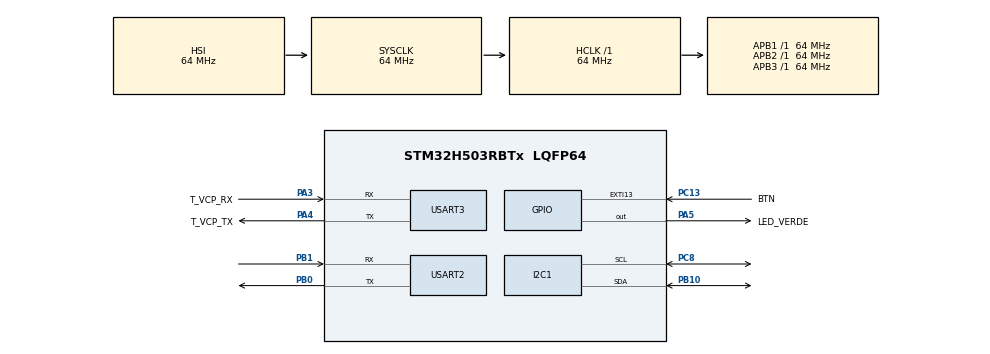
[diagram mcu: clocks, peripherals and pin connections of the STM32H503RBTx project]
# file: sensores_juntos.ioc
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BOOTPATH.BootPathName=LEGACY
BOOTPATH.UserSelectedBootPath=LEGACY
I2C1.Timing=0x10707DBC
Mcu.Family=STM32H5
Mcu.Name=STM32H503RBTx
Mcu.Package=LQFP64
NVIC.PriorityGroup=NVIC_PRIORITYGROUP_4
PA3.GPIO_Label=T_VCP_RX
PA3.Mode=Asynchronous
PA3.Signal=USART3_RX
PA4.GPIO_Label=T_VCP_TX
PA4.Mode=Asynchronous
PA4.Signal=USART3_TX
PA5.GPIO_Label=LED_VERDE
PA5.Signal=GPIO_Output
PB0.Mode=Asynchronous
PB0.Signal=USART2_TX
PB1.Mode=Asynchronous
PB1.Signal=USART2_RX
PB10.Mode=I2C
PB10.Signal=I2C1_SDA
PC13.GPIO_Label=BTN
PC13.Signal=GPXTI13
PC8.Mode=I2C
PC8.Signal=I2C1_SCL
ProjectManager.HeapSize=0x200
ProjectManager.StackSize=0x400
ProjectManager.TargetToolchain=STM32CubeIDE
RCC.ADCFreq_Value=64000000
RCC.AHBFreq_Value=64000000
RCC.APB1Freq_Value=64000000
RCC.APB1TimFreq_Value=64000000
RCC.APB2Freq_Value=64000000
RCC.APB2TimFreq_Value=64000000
RCC.APB3Freq_Value=64000000
RCC.CSI_VALUE=4000000
RCC.CortexFreq_Value=64000000
RCC.EPOD_VALUE=4000000
RCC.HCLKFreq_Value=64000000
RCC.HSE_VALUE=24000000
RCC.HSI48_VALUE=48000000
RCC.HSIDiv=RCC_HSI_DIV1
RCC.HSI_VALUE=64000000
RCC.LSE_VALUE=32768
RCC.LSIRC_VALUE=32000
RCC.PLLN=32
RCC.SYSCLKFreq_VALUE=64000000
RCC.USBFreq_Value=48000000
RCC.VCOOutputFreq_Value=128000000
USART2.VirtualMode-Asynchronous=VM_ASYNC
USART3.VirtualMode-Asynchronous=VM_ASYNC
VP_BOOTPATH_VS_BOOTPATH.Mode=BP_Activate
VP_CORTEX_M33_NS_VS_Hclk.Mode=Hclk_Mode
VP_MEMORYMAP_VS_MEMORYMAP.Mode=CurAppReg
VP_PWR_VS_DBSignals.Mode=DisableDeadBatterySignals
VP_PWR_VS_LPOM.Mode=PowerOptimisation
VP_PWR_VS_SECSignals.Mode=Security/Privilege
board=NUCLEO-H503RB

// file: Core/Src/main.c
/* USER CODE BEGIN Header */
/**
  ******************************************************************************
  * @file           : main.c
  * @brief          : Main program body
  ******************************************************************************
  * @attention
  *
  * Copyright (c) 2025 STMicroelectronics.
  * All rights reserved.
  *
  * This software is licensed under terms that can be found in the LICENSE file
  * in the root directory of this software component.
  * If no LICENSE file comes with this software, it is provided AS-IS.
  *
  ******************************************************************************
  */
/* USER CODE END Header */
#include "main.h"

/* USER CODE BEGIN Includes */
#include "stdbool.h"
#include "stdio.h"
/* USER CODE END Includes */

/* USER CODE BEGIN PTD */
#define BUFFER_MAX_USART 100

//---------------------ACELEROMETRO-----------------------------------------
#define ADXL345_ADDR       0x53<<1  //Dirección I2C
#define REG_DEVID          0x00
#define REG_POWER_CTL      0x2D
#define REG_DATA_FORMAT    0x31
#define REG_BW_RATE        0x2C
#define REG_DATAX0         0x32
#define REG_DATAX1         0x33
#define REG_DATAY0         0x34
#define REG_DATAY1         0x35
#define REG_DATAZ0         0x36
#define REG_DATAZ1         0x37

#define REG_THRESH_ACT     0x24
#define REG_INT_ENABLE     0x2E
#define REG_INT_SOURCE     0x30

typedef struct{
	uint8_t bytes [BUFFER_MAX_USART];
	uint16_t longitud;
}Transfer_Config;

typedef struct{
	volatile float x_axis;
	volatile float y_axis;
	volatile float z_axis;
	volatile float acelX_filtrada;
	volatile float acelY_filtrada;
	volatile float acelZ_filtrada;
	volatile float deltaX;
	volatile float deltaY;
	volatile float deltaZ;
	volatile float prevX;
	volatile float prevY;

	bool startMeasure;
} Device_Config;

typedef struct{
	uint8_t ID;
	bool deviceReady;
	uint8_t rawData[8];
	int16_t rawX;
	int16_t rawY;
	int16_t rawZ;
} ADXL_Config;

typedef struct{
	uint8_t data_format;
	uint8_t power_ctl;
	uint8_t bw_rate;
} Values_ADXL;

Device_Config datos={};
ADXL_Config acelerometro={};
Values_ADXL values={};
Transfer_Config tx={};

void ADXL_Init(void);
void Value_Conversion(void);
void Send_USART(void);
float filtroSuavizado(float nuevo, float anterior);

//----------------------------CALIDAD DE AIRE--------------------------------
#define AHT21_ADDR    (0x38 << 1)

#define ENS160_ADDR_52   (0x52 << 1)
#define ENS160_ADDR_53   (0x53 << 1)

/* ENS160 registros útiles */
#define ENS160_PART_ID       0x00
#define ENS160_OPMODE        0x10
#define ENS160_CONFIG        0x11
#define ENS160_COMMAND       0x12
#define ENS160_TEMP_IN       0x13
#define ENS160_RH_IN         0x15
#define ENS160_DEVICE_STATUS 0x20
#define ENS160_DATA_AQI      0x21
#define ENS160_DATA_TVOC     0x22
#define ENS160_DATA_ECO2     0x24

typedef struct{
	bool ens160_found;
	uint8_t ID_LSB;
	uint8_t ID_MSB;
	uint16_t ID1;
	bool deviceReady1;
	bool dataReady1;
	uint8_t config_value;
	uint8_t command_value;
	uint8_t opmode_value;
	uint8_t status;
	uint8_t aqi;
	uint16_t tvoc;
	uint16_t eco2;
} ENS160_Config;

typedef struct{
	bool aht21_found;
	uint8_t status;
	bool deviceReady1;
	float temperature;
	float humidity;
} AHT21_Config;

ENS160_Config ens160 = {};
AHT21_Config aht21 = {};

void ENS160_Init(void);
void ENS160_ConfigReg(void);
void AHT21_Init(void);
bool AHT21_ReadData(float *temperature, float *humidity);
void ENS160_SetTempHum(float *temperature, float *humidity);
void Read_ENS160_Data(void);
void Send_USART(void);
/* USER CODE END PTD */

I2C_HandleTypeDef hi2c1;

UART_HandleTypeDef huart2;
UART_HandleTypeDef huart3;

void SystemClock_Config(void);
static void MX_GPIO_Init(void);
static void MX_I2C1_Init(void);
static void MX_USART2_UART_Init(void);
static void MX_USART3_UART_Init(void);

int main(void)
{

  /* MCU Configuration--------------------------------------------------------*/

  /* Reset of all peripherals, Initializes the Flash interface and the Systick. */
  HAL_Init();

  /* Configure the system clock */
  SystemClock_Config();

  /* Initialize all configured peripherals */
  MX_GPIO_Init();
  MX_I2C1_Init();
  MX_USART2_UART_Init();
  MX_USART3_UART_Init();
  /* USER CODE BEGIN 2 */

  //------------ACELEROMETRO--------------
  datos.startMeasure=false;
  datos.x_axis=0;
  datos.y_axis=0;
  datos.z_axis=0;
  datos.acelX_filtrada=0;
  datos.acelY_filtrada=0;
  datos.acelZ_filtrada=0;
  datos.deltaX=0;
  datos.deltaY=0;
  datos.deltaZ=0;
  datos.prevX=0;
  datos.prevY=0;

  HAL_I2C_Mem_Read(&hi2c1, ADXL345_ADDR, REG_DEVID, 1, &acelerometro.ID, 1, 100);
  if (acelerometro.ID==0xE5) {
	  acelerometro.deviceReady=true;
  } else{
	  acelerometro.deviceReady=false;
  }

  if(acelerometro.deviceReady){
	  ADXL_Init(); //configuracion de acelerometro
  }

  //----------------CALIDAD AIRE----------------
  ENS160_Init();
  if (ens160.deviceReady1){
	ENS160_ConfigReg();
  }

  AHT21_Init();

  /* USER CODE END 2 */

  /* Infinite loop */
  /* USER CODE BEGIN WHILE */
  while (1)
  {
	  //------------ACEELEROMETRO----------------
	  //obtencion de datos crudos
		uint8_t buffer[2];

		// Leer X
		HAL_I2C_Mem_Read(&hi2c1, ADXL345_ADDR, REG_DATAX0, 1, buffer, 2, 100);
		acelerometro.rawX = (buffer[1] << 8 | buffer[0]);

		// Leer Y
		HAL_I2C_Mem_Read(&hi2c1, ADXL345_ADDR, REG_DATAY0, 1, buffer, 2, 100);
		acelerometro.rawY =(buffer[1] << 8 | buffer[0]);

		//Leer Z
		HAL_I2C_Mem_Read(&hi2c1, ADXL345_ADDR, REG_DATAZ0, 1, buffer, 2, 100);
		acelerometro.rawZ = (buffer[1] << 8 | buffer[0]);

		Value_Conversion();
		Send_USART();

		datos.acelX_filtrada = filtroSuavizado(datos.x_axis, datos.acelX_filtrada);
		datos.acelY_filtrada = filtroSuavizado(datos.y_axis, datos.acelY_filtrada);
		datos.acelZ_filtrada = filtroSuavizado(datos.z_axis, datos.acelZ_filtrada);

		// Calcular deltas
		datos.deltaX = datos.acelX_filtrada - datos.prevX;
		datos.deltaY = datos.acelY_filtrada - datos.prevY;

		datos.prevX = datos.acelX_filtrada;
		datos.prevY = datos.acelY_filtrada;

		// Magnitud lateral (evitar gravedad)
		float magnitudLateral = sqrt(datos.deltaX*datos.deltaX + datos.deltaY*datos.deltaY);

		// Detección
		if (magnitudLateral > 0.01 && magnitudLateral < 0.03) {
			snprintf((char*)tx.bytes, sizeof(tx.bytes), "Temblor leve detectado\r\n");
			HAL_UART_Transmit(&huart3, tx.bytes, strlen((char*)tx.bytes), 1000);
		}

		else if (magnitudLateral >= 0.03 && magnitudLateral < 0.05) {
					snprintf((char*)tx.bytes, sizeof(tx.bytes), "Temblor fuerte detectado\r\n");
					HAL_UART_Transmit(&huart3, tx.bytes, strlen((char*)tx.bytes), 1000);
				}

		else if (magnitudLateral >= 0.5) {
			snprintf((char*)tx.bytes, sizeof(tx.bytes), "Alerta\r\n");
			HAL_UART_Transmit(&huart3, tx.bytes, strlen((char*)tx.bytes), 1000);
		}

	  //------------CALIDAD DE AIRE--------------
	  if(AHT21_ReadData(&aht21.temperature, &aht21.humidity)){
	  		  ENS160_SetTempHum(&aht21.temperature, &aht21.humidity); // ENS160 --> compensación ambiental
	  	  }

	  	  HAL_I2C_Mem_Read(&hi2c1, ENS160_ADDR_52, ENS160_DEVICE_STATUS, 1, &ens160.status, 1, 100);
	  	  bool opmode_running = ens160.status & (1 << 7);
	  	  bool error_detected = ens160.status & (1 << 6);
	  	  uint8_t validity_flag = (ens160.status >> 2) & 0x03;
	  	  bool new_data = ens160.status & (1 << 1);

	  	  // Acepta datos si NO hay error y NO es output inválido (flag 3)
	  	  if(opmode_running && !error_detected && validity_flag != 3 && new_data){
	  		  ens160.dataReady1 = true;

	  		  // Opcional: indicar que los datos aún no son 100% precisos
	  //		  ens160.isCalibrated = (validity_flag == 0);
	  	  } else {
	  		  ens160.dataReady1 = false;
	  	  }

	  	  if(ens160.dataReady1){
	  		  Read_ENS160_Data();
	  		  Send_USART(); // Enviar datos por UART
	  		  ens160.dataReady1 = false; // Opcional: limpiar bandera para esperar próxima lectura

	  	  }

    /* USER CODE END WHILE */

  }
}

void SystemClock_Config(void)
{
  RCC_OscInitTypeDef RCC_OscInitStruct = {0};
  RCC_ClkInitTypeDef RCC_ClkInitStruct = {0};

  /** Configure the main internal regulator output voltage
  */
  __HAL_PWR_VOLTAGESCALING_CONFIG(PWR_REGULATOR_VOLTAGE_SCALE3);

  while(!__HAL_PWR_GET_FLAG(PWR_FLAG_VOSRDY)) {}

  /** Initializes the RCC Oscillators according to the specified parameters
  * in the RCC_OscInitTypeDef structure.
  */
  RCC_OscInitStruct.OscillatorType = RCC_OSCILLATORTYPE_HSI;
  RCC_OscInitStruct.HSIState = RCC_HSI_ON;
  RCC_OscInitStruct.HSIDiv = RCC_HSI_DIV1;
  RCC_OscInitStruct.HSICalibrationValue = RCC_HSICALIBRATION_DEFAULT;
  RCC_OscInitStruct.PLL.PLLState = RCC_PLL_NONE;
  if (HAL_RCC_OscConfig(&RCC_OscInitStruct) != HAL_OK)
  {
    Error_Handler();
  }

  /** Initializes the CPU, AHB and APB buses clocks
  */
  RCC_ClkInitStruct.ClockType = RCC_CLOCKTYPE_HCLK|RCC_CLOCKTYPE_SYSCLK
                              |RCC_CLOCKTYPE_PCLK1|RCC_CLOCKTYPE_PCLK2
                              |RCC_CLOCKTYPE_PCLK3;
  RCC_ClkInitStruct.SYSCLKSource = RCC_SYSCLKSOURCE_HSI;
  RCC_ClkInitStruct.AHBCLKDivider = RCC_SYSCLK_DIV1;
  RCC_ClkInitStruct.APB1CLKDivider = RCC_HCLK_DIV1;
  RCC_ClkInitStruct.APB2CLKDivider = RCC_HCLK_DIV1;
  RCC_ClkInitStruct.APB3CLKDivider = RCC_HCLK_DIV1;

  if (HAL_RCC_ClockConfig(&RCC_ClkInitStruct, FLASH_LATENCY_3) != HAL_OK)
  {
    Error_Handler();
  }

  /** Configure the programming delay
  */
  __HAL_FLASH_SET_PROGRAM_DELAY(FLASH_PROGRAMMING_DELAY_1);
}

static void MX_I2C1_Init(void)
{

  hi2c1.Instance = I2C1;
  hi2c1.Init.Timing = 0x10707DBC;
  hi2c1.Init.OwnAddress1 = 0;
  hi2c1.Init.AddressingMode = I2C_ADDRESSINGMODE_7BIT;
  hi2c1.Init.DualAddressMode = I2C_DUALADDRESS_DISABLE;
  hi2c1.Init.OwnAddress2 = 0;
  hi2c1.Init.OwnAddress2Masks = I2C_OA2_NOMASK;
  hi2c1.Init.GeneralCallMode = I2C_GENERALCALL_DISABLE;
  hi2c1.Init.NoStretchMode = I2C_NOSTRETCH_DISABLE;
  if (HAL_I2C_Init(&hi2c1) != HAL_OK)
  {
    Error_Handler();
  }

  /** Configure Analogue filter
  */
  if (HAL_I2CEx_ConfigAnalogFilter(&hi2c1, I2C_ANALOGFILTER_ENABLE) != HAL_OK)
  {
    Error_Handler();
  }

  /** Configure Digital filter
  */
  if (HAL_I2CEx_ConfigDigitalFilter(&hi2c1, 0) != HAL_OK)
  {
    Error_Handler();
  }

}

static void MX_USART2_UART_Init(void)
{

  huart2.Instance = USART2;
  huart2.Init.BaudRate = 115200;
  huart2.Init.WordLength = UART_WORDLENGTH_8B;
  huart2.Init.StopBits = UART_STOPBITS_1;
  huart2.Init.Parity = UART_PARITY_NONE;
  huart2.Init.Mode = UART_MODE_TX_RX;
  huart2.Init.HwFlowCtl = UART_HWCONTROL_NONE;
  huart2.Init.OverSampling = UART_OVERSAMPLING_16;
  huart2.Init.OneBitSampling = UART_ONE_BIT_SAMPLE_DISABLE;
  huart2.Init.ClockPrescaler = UART_PRESCALER_DIV1;
  huart2.AdvancedInit.AdvFeatureInit = UART_ADVFEATURE_NO_INIT;
  if (HAL_UART_Init(&huart2) != HAL_OK)
  {
    Error_Handler();
  }
  if (HAL_UARTEx_SetTxFifoThreshold(&huart2, UART_TXFIFO_THRESHOLD_1_8) != HAL_OK)
  {
    Error_Handler();
  }
  if (HAL_UARTEx_SetRxFifoThreshold(&huart2, UART_RXFIFO_THRESHOLD_1_8) != HAL_OK)
  {
    Error_Handler();
  }
  if (HAL_UARTEx_DisableFifoMode(&huart2) != HAL_OK)
  {
    Error_Handler();
  }

}

static void MX_USART3_UART_Init(void)
{

  huart3.Instance = USART3;
  huart3.Init.BaudRate = 115200;
  huart3.Init.WordLength = UART_WORDLENGTH_8B;
  huart3.Init.StopBits = UART_STOPBITS_1;
  huart3.Init.Parity = UART_PARITY_NONE;
  huart3.Init.Mode = UART_MODE_TX_RX;
  huart3.Init.HwFlowCtl = UART_HWCONTROL_NONE;
  huart3.Init.OverSampling = UART_OVERSAMPLING_16;
  huart3.Init.OneBitSampling = UART_ONE_BIT_SAMPLE_DISABLE;
  huart3.Init.ClockPrescaler = UART_PRESCALER_DIV1;
  huart3.AdvancedInit.AdvFeatureInit = UART_ADVFEATURE_NO_INIT;
  if (HAL_UART_Init(&huart3) != HAL_OK)
  {
    Error_Handler();
  }
  if (HAL_UARTEx_SetTxFifoThreshold(&huart3, UART_TXFIFO_THRESHOLD_1_8) != HAL_OK)
  {
    Error_Handler();
  }
  if (HAL_UARTEx_SetRxFifoThreshold(&huart3, UART_RXFIFO_THRESHOLD_1_8) != HAL_OK)
  {
    Error_Handler();
  }
  if (HAL_UARTEx_DisableFifoMode(&huart3) != HAL_OK)
  {
    Error_Handler();
  }

}

static void MX_GPIO_Init(void)
{
  GPIO_InitTypeDef GPIO_InitStruct = {0};

  /* GPIO Ports Clock Enable */
  __HAL_RCC_GPIOC_CLK_ENABLE();
  __HAL_RCC_GPIOA_CLK_ENABLE();
  __HAL_RCC_GPIOB_CLK_ENABLE();

  /*Configure GPIO pin Output Level */
  HAL_GPIO_WritePin(LED_VERDE_GPIO_Port, LED_VERDE_Pin, GPIO_PIN_RESET);

  /*Configure GPIO pin : BTN_Pin */
  GPIO_InitStruct.Pin = BTN_Pin;
  GPIO_InitStruct.Mode = GPIO_MODE_IT_RISING;
  GPIO_InitStruct.Pull = GPIO_NOPULL;
  HAL_GPIO_Init(BTN_GPIO_Port, &GPIO_InitStruct);

  /*Configure GPIO pin : LED_VERDE_Pin */
  GPIO_InitStruct.Pin = LED_VERDE_Pin;
  GPIO_InitStruct.Mode = GPIO_MODE_OUTPUT_PP;
  GPIO_InitStruct.Pull = GPIO_NOPULL;
  GPIO_InitStruct.Speed = GPIO_SPEED_FREQ_LOW;
  HAL_GPIO_Init(LED_VERDE_GPIO_Port, &GPIO_InitStruct);

}

/* USER CODE BEGIN 4 */

	//-------------------ACELEROMETRO----------------
	void ADXL_Init(void){
		  values.bw_rate=0x0A; //100MHZ
		  values.data_format=0x00; //Rango +2g
		  values.power_ctl=0x08; //medicion activado

		  HAL_I2C_Mem_Write(&hi2c1, ADXL345_ADDR, REG_POWER_CTL, 1, &values.power_ctl, 1, 100);
		  HAL_I2C_Mem_Write(&hi2c1, ADXL345_ADDR, REG_DATA_FORMAT, 1, &values.data_format, 1, 100);
		  HAL_I2C_Mem_Write(&hi2c1, ADXL345_ADDR, REG_BW_RATE, 1, &values.bw_rate, 1, 100);
	}

	void Value_Conversion(void){
		datos.x_axis = acelerometro.rawX / 256.0;
		datos.y_axis = acelerometro.rawY / 256.0;
		datos.z_axis = acelerometro.rawZ / 256.0;
	}

	float filtroSuavizado(float nuevo, float anterior) {
		return 0.8 * anterior + 0.2 * nuevo;  // Filtro paso bajo
	}

	//-------------------CALIDAD AIRE----------------
	void ENS160_Init(void){
		HAL_I2C_Mem_Read(&hi2c1, ENS160_ADDR_52, ENS160_PART_ID, 1, &ens160.ID_MSB, 1, 100);
		HAL_I2C_Mem_Read(&hi2c1, ENS160_ADDR_52, ENS160_PART_ID + 1, 1, &ens160.ID_LSB, 1, 100);

		ens160.ID1 = (ens160.ID_MSB << 8) | ens160.ID_LSB;

		if (ens160.ID1 == 0x6001){
			ens160.deviceReady1 = true;
		} else {
			ens160.deviceReady1 = false;
		}
	}

	void ENS160_ConfigReg(void){
		ens160.config_value = 0x00;		// CONFIG: interrupción desactivada (bit 0 = 0)
		ens160.command_value = 0xCC; 	// Limpiar registros GPR antes de iniciar
		ens160.opmode_value = 0x02;  	// 0x02 = Active gas sensing operating mode

		HAL_I2C_Mem_Write(&hi2c1, ENS160_ADDR_52, ENS160_CONFIG, 1, &ens160.config_value, 1, 100);
		HAL_I2C_Mem_Write(&hi2c1, ENS160_ADDR_52, ENS160_COMMAND, 1, &ens160.command_value, 1, 100);
		HAL_I2C_Mem_Write(&hi2c1, ENS160_ADDR_52, ENS160_OPMODE, 1, &ens160.opmode_value, 1, 100);
	}

	void AHT21_Init(void) {
		HAL_Delay(100);  // Esperar ≥100 ms tras encendido
		uint8_t command = 0x71; // Comando para leer status word

		HAL_I2C_Master_Transmit(&hi2c1, AHT21_ADDR, &command, 1, 100);
		HAL_I2C_Master_Receive(&hi2c1, AHT21_ADDR, &aht21.status, 1, 100);

		if (aht21.status == 0x18) {
			aht21.deviceReady1 = true;
		} else {
			aht21.deviceReady1 = false; // no calibrado o mal inicializado
		}
	}

	bool AHT21_ReadData(float *temperature, float *humidity) {
		uint8_t command_trigger[3] = {0xAC, 0x33, 0x00};
		uint8_t command_status = 0x71;
		uint8_t status;
		uint8_t data[6];

		// Iniciar medición
		HAL_I2C_Master_Transmit(&hi2c1, AHT21_ADDR, command_trigger, 3, 100);

		HAL_Delay(80);  // Esperar que termine la medición (~80 ms)

		// Leer estado (0x71)
		HAL_I2C_Master_Transmit(&hi2c1, AHT21_ADDR, &command_status, 1, 100);
		HAL_I2C_Master_Receive(&hi2c1, AHT21_ADDR, &status, 1, 100);

		if (status & 0x80) return false;  // sigue ocupado

		// Leer 6 bytes de datos
		HAL_I2C_Master_Receive(&hi2c1, AHT21_ADDR, data, 6, 100);

		// Convertir los datos
		uint32_t raw_humidity = ((uint32_t)data[1] << 12) | ((uint32_t)data[2] << 4) | (data[3] >> 4);
		uint32_t raw_temp     = (((uint32_t)data[3] & 0x0F) << 16) | ((uint32_t)data[4] << 8) | data[5];

		*humidity = ((float)raw_humidity / 1048576.0f) * 100.0f; // 2^20 = 1048576
		*temperature = ((float)raw_temp / 1048576.0f) * 200.0f - 50.0f;

		return true;
	}

	void ENS160_SetTempHum(float *temperature, float *humidity){
		uint16_t temp_kelvin = (uint16_t)((*temperature + 273.15f) * 64); //  DATA_T storage format
		uint16_t rh_scaled   = (uint16_t)(*humidity * 512); // DATA_RH storage format

		uint8_t temp_lsb = temp_kelvin & 0xFF;
		uint8_t temp_msb = temp_kelvin >> 8;
		uint8_t rh_lsb   = rh_scaled & 0xFF;
		uint8_t rh_msb   = rh_scaled >> 8;

		// Enviar al ENS160
		HAL_I2C_Mem_Write(&hi2c1, ENS160_ADDR_52, ENS160_TEMP_IN, 1, &temp_lsb, 1, 100);
		HAL_I2C_Mem_Write(&hi2c1, ENS160_ADDR_52, ENS160_TEMP_IN + 1, 1, &temp_msb, 1, 100);

		HAL_I2C_Mem_Write(&hi2c1, ENS160_ADDR_52, ENS160_RH_IN, 1, &rh_lsb, 1, 100);
		HAL_I2C_Mem_Write(&hi2c1, ENS160_ADDR_52, ENS160_RH_IN + 1, 1, &rh_msb, 1, 100);
	}

	void Read_ENS160_Data(void){
		uint8_t data_aqi_temp;
		uint8_t data_tvoc_lsb;
		uint8_t data_tvoc_msb;
		uint8_t data_eco2_lsb;
		uint8_t data_eco2_msb;

		// Leer AQI
		HAL_I2C_Mem_Read(&hi2c1, ENS160_ADDR_52, ENS160_DATA_AQI, 1, &data_aqi_temp, 1, 100);

		// Leer TVOC (2 bytes)
		HAL_I2C_Mem_Read(&hi2c1, ENS160_ADDR_52, ENS160_DATA_TVOC, 1, &data_tvoc_lsb, 1, 100);
		HAL_I2C_Mem_Read(&hi2c1, ENS160_ADDR_52, ENS160_DATA_TVOC + 1, 1, &data_tvoc_msb, 1, 100);

		// Leer eCO2 (2 bytes)
		HAL_I2C_Mem_Read(&hi2c1, ENS160_ADDR_52, ENS160_DATA_ECO2, 1, &data_eco2_lsb, 1, 100);
		HAL_I2C_Mem_Read(&hi2c1, ENS160_ADDR_52, ENS160_DATA_ECO2 + 1, 1, &data_eco2_msb, 1, 100);

		// Guardar los datos en la estructura
		ens160.aqi  = data_aqi_temp & 0x07;  // bits 0–2 son el AQI (1–5)
		ens160.tvoc = ((uint16_t)data_tvoc_msb << 8) | data_tvoc_lsb; // TVOC (ppb)
		ens160.eco2 = ((uint16_t)data_eco2_msb << 8) | data_eco2_lsb; // eCO2 (ppm)
	}

	void Send_USART() { //para acelerometro y calidad de aire
	    tx.longitud = (uint16_t)snprintf(
	        (char*)tx.bytes,
	        sizeof(tx.bytes),
	        "X: %.2f  Y: %.2f  Z: %.2f\r\n"
	        "Temp: %.2f C, Hum: %.2f %%\r\n"
	        "AQI: %d, TVOC: %d ppb, eCO2: %d ppm\r\n",
	        datos.x_axis,
	        datos.y_axis,
	        datos.z_axis,
	        aht21.temperature,
	        aht21.humidity,
	        ens160.aqi,
	        ens160.tvoc,
	        ens160.eco2
	    );

	    HAL_UART_Transmit(&huart3, tx.bytes, tx.longitud, 1000);

	    tx.longitud = (uint16_t)snprintf(
			(char*)tx.bytes,
			sizeof(tx.bytes),
			"X: %.2f  Y: %.2f  Z: %.2f\r\n"
			"Temp: %.2f C, Hum: %.2f %%\r\n"
			"AQI: %d, TVOC: %d ppb, eCO2: %d ppm\r\n",
			datos.x_axis,
			datos.y_axis,
			datos.z_axis,
			aht21.temperature,
			aht21.humidity,
			ens160.aqi,
			ens160.tvoc,
			ens160.eco2
		);

		HAL_UART_Transmit(&huart2, tx.bytes, tx.longitud, 1000);
	}

/* USER CODE END 4 */

void Error_Handler(void)
{
  __disable_irq();
  while (1)
  {
  }
}
